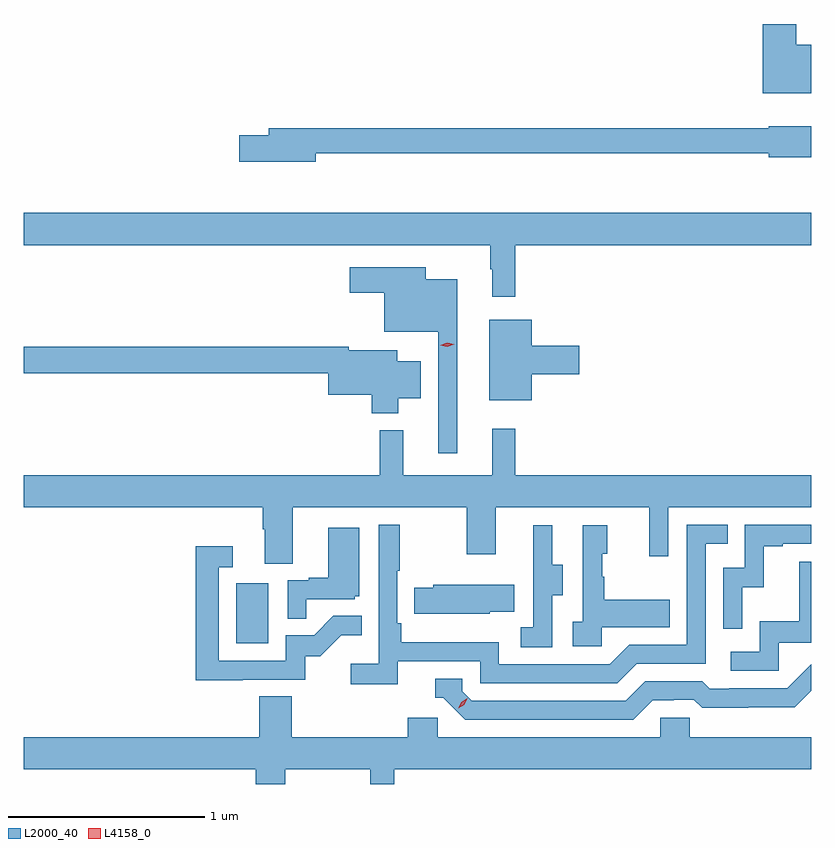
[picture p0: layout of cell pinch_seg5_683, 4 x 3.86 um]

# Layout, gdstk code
import gdstk
lib = gdstk.Library(unit=1e-6, precision=1e-09)
def R(c, l, rs):  # rectangles x0, y0, x1, y1
    for r in rs: c.add(gdstk.rectangle(r[:2], r[2:], *l))
def P(c, l, *ps):  # polygons
    for p in ps: c.add(gdstk.Polygon(p, *l))
L2000_40 = (2000, 40)
L4158_0 = (4158, 0)

pinch_seg5_683 = lib.new_cell('pinch_seg5_683')
R(pinch_seg5_683, L2000_40, [(1129.022,850.74,1129.186,851.047)])
P(pinch_seg5_683, L2000_40, [(1131.944,853.783),(1131.868,853.783),(1131.868,853.888),(1131.698,853.888),(1131.698,853.535),(1131.944,853.535)],
  [(1129.426,853.23),(1131.728,853.23),(1131.728,853.211),(1131.944,853.211),(1131.944,853.369),(1131.728,853.369),(1131.728,853.358),(1129.187,853.358),(1129.187,853.322),(1129.038,853.322),(1129.038,853.187),(1129.426,853.187)],
  [(1130.441,852.764),(1131.944,852.764),(1131.944,852.928),(1127.944,852.928),(1127.944,852.764),(1130.313,852.764),(1130.313,852.641),(1130.324,852.641),(1130.324,852.501),(1130.441,852.501)],
  [(1130.146,852.592),(1129.987,852.592),(1129.987,852.652),(1129.599,852.652),(1129.599,852.523),(1129.775,852.523),(1129.775,852.323),(1130.049,852.323),(1130.049,851.706),(1130.146,851.706)],
  [(1130.524,852.107),(1130.767,852.107),(1130.767,852.254),(1130.524,852.254),(1130.524,852.385),(1130.309,852.385),(1130.309,851.975),(1130.524,851.975)],
  [(1129.846,851.987),(1129.96,851.987),(1129.96,852.175),(1129.84,852.175),(1129.84,852.229),(1129.594,852.229),(1129.594,852.248),(1127.944,852.248),(1127.944,852.112),(1129.49,852.112),(1129.49,852.005),(1129.712,852.005),(1129.712,851.909),(1129.846,851.909)],
  [(1129.309,851.432),(1130.194,851.432),(1130.194,851.193),(1130.341,851.193),(1130.341,851.432),(1131.122,851.432),(1131.122,851.184),(1131.219,851.184),(1131.219,851.432),(1131.944,851.432),(1131.944,851.596),(1130.441,851.596),(1130.441,851.83),(1130.324,851.83),(1130.324,851.596),(1129.871,851.596),(1129.871,851.824),(1129.753,851.824),(1129.753,851.596),(1127.944,851.596),(1127.944,851.432),(1129.157,851.432),(1129.157,851.32),(1129.169,851.32),(1129.169,851.146),(1129.309,851.146)],
  [(1129.844,850.65),(1130.262,850.65),(1130.262,850.539),(1130.959,850.539),(1131.058,850.638),(1131.408,850.638),(1131.408,851.247),(1131.521,851.247),(1131.521,851.343),(1131.312,851.343),(1131.312,850.734),(1131.021,850.734),(1130.922,850.635),(1130.358,850.635),(1130.358,850.747),(1129.862,850.747),(1129.862,850.843),(1129.842,850.843),(1129.842,851.11),(1129.855,851.11),(1129.855,851.344),(1129.746,851.344),(1129.746,850.636),(1129.605,850.636),(1129.605,850.534),(1129.844,850.534)],
  [(1131.594,851.027),(1131.704,851.027),(1131.704,851.235),(1131.799,851.235),(1131.799,851.247),(1131.944,851.247),(1131.944,851.343),(1131.606,851.343),(1131.606,851.124),(1131.498,851.124),(1131.498,850.815),(1131.594,850.815)],
  [(1130.88,850.823),(1131.227,850.823),(1131.227,850.963),(1130.893,850.963),(1130.893,851.078),(1130.883,851.078),(1130.883,851.196),(1130.908,851.196),(1130.908,851.341),(1130.784,851.341),(1130.784,850.85),(1130.733,850.85),(1130.733,850.725),(1130.88,850.725)],
  [(1130.628,850.984),(1130.683,850.984),(1130.683,851.139),(1130.629,851.139),(1130.629,851.341),(1130.531,851.341),(1130.531,851.127),(1130.532,851.127),(1130.532,850.823),(1130.469,850.823),(1130.469,850.72),(1130.628,850.72)],
  [(1129.379,850.965),(1129.626,850.965),(1129.626,850.98),(1129.648,850.98),(1129.648,851.329),(1129.49,851.329),(1129.49,851.074),(1129.391,851.074),(1129.391,851.061),(1129.284,851.061),(1129.284,850.867),(1129.379,850.867)],
  [(1129.055,850.557),(1129.374,850.557),(1129.374,850.674),(1129.45,850.674),(1129.557,850.781),(1129.661,850.781),(1129.661,850.88),(1129.517,850.88),(1129.419,850.782),(1129.275,850.782),(1129.275,850.653),(1128.933,850.653),(1128.933,851.127),(1129.006,851.127),(1129.006,851.233),(1128.817,851.233),(1128.817,850.552),(1129.055,850.552)],
  [(1131.78,850.743),(1131.944,850.743),(1131.944,851.155),(1131.883,851.155),(1131.883,850.852),(1131.684,850.852),(1131.684,850.698),(1131.537,850.698),(1131.537,850.602),(1131.78,850.602)],
  [(1130.31,850.901),(1130.435,850.901),(1130.435,851.038),(1130.025,851.038),(1130.025,851.022),(1129.927,851.022),(1129.927,850.892),(1130.31,850.892)],
  [(1131.139,850.452),(1131.246,850.452),(1131.246,850.455),(1131.349,850.455),(1131.391,850.413),(1131.624,850.413),(1131.624,850.415),(1131.86,850.415),(1131.944,850.499),(1131.944,850.634),(1131.822,850.512),(1131.529,850.512),(1131.529,850.509),(1131.43,850.509),(1131.391,850.548),(1131.102,850.548),(1131.003,850.449),(1130.22,850.449),(1130.172,850.497),(1130.172,850.56),(1130.033,850.56),(1130.033,850.464),(1130.076,850.464),(1130.187,850.353),(1131.04,850.353)],
  [(1129.273,850.1),(1129.703,850.1),(1129.703,850.026),(1129.826,850.026),(1129.826,850.1),(1131.944,850.1),(1131.944,850.264),(1131.327,850.264),(1131.327,850.362),(1131.177,850.362),(1131.177,850.264),(1130.046,850.264),(1130.046,850.362),(1129.895,850.362),(1129.895,850.264),(1129.304,850.264),(1129.304,850.472),(1129.139,850.472),(1129.139,850.264),(1127.944,850.264),(1127.944,850.1),(1129.121,850.1),(1129.121,850.026),(1129.273,850.026)])
P(pinch_seg5_683, L4158_0, [(1130.15,850.41),(1130.15,850.41),(1130.166,850.442),(1130.197,850.462),(1130.198,850.462),(1130.198,850.462),(1130.181,850.429),(1130.15,850.41)],
  [(1130.096,852.248),(1130.06,852.256),(1130.059,852.256),(1130.06,852.256),(1130.095,852.268),(1130.131,852.26),(1130.131,852.26),(1130.131,852.26)])

lib.write_gds('pinch_seg5_683.gds')
